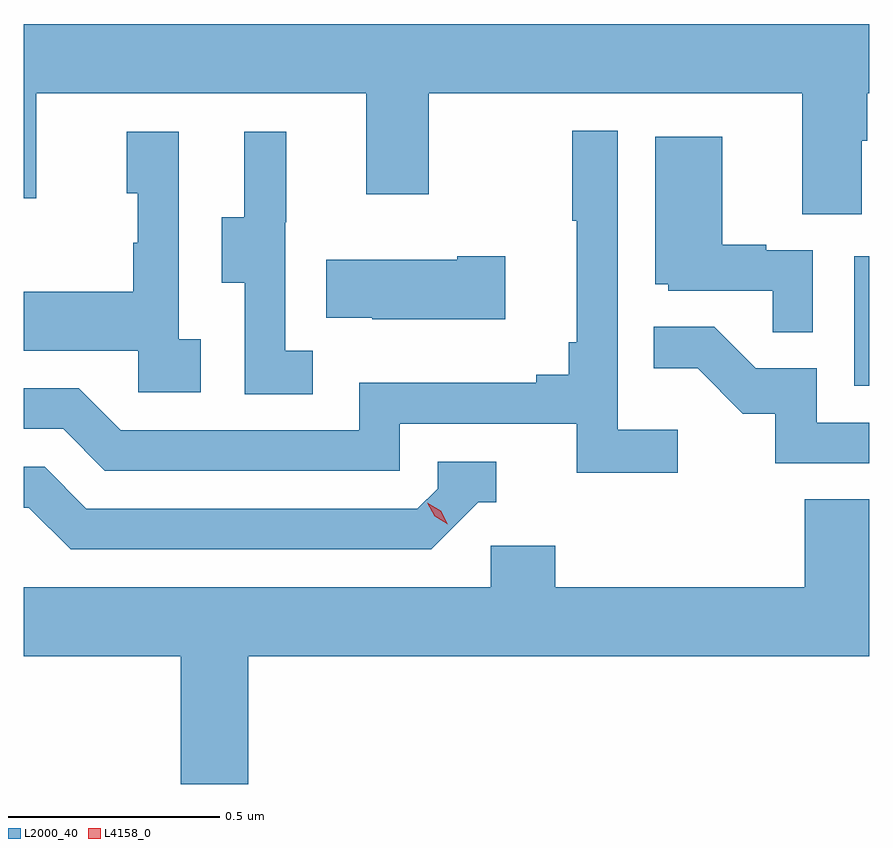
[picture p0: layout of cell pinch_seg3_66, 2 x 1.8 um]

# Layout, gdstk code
import gdstk
lib = gdstk.Library(unit=1e-6, precision=1e-09)
def R(c, l, rs):  # rectangles x0, y0, x1, y1
    for r in rs: c.add(gdstk.rectangle(r[:2], r[2:], *l))
def P(c, l, *ps):  # polygons
    for p in ps: c.add(gdstk.Polygon(p, *l))
L2000_40 = (2000, 40)
L4158_0 = (4158, 0)

pinch_seg3_66 = lib.new_cell('pinch_seg3_66')
R(pinch_seg3_66, L2000_40, [(1034.492,741.516,1034.527,741.823)])
P(pinch_seg3_66, L2000_40, [(1034.509,742.096),(1034.522,742.096),(1034.522,742.208),(1034.527,742.208),(1034.527,742.372),(1032.527,742.372),(1032.527,741.96),(1032.557,741.96),(1032.557,742.208),(1033.337,742.208),(1033.337,741.969),(1033.485,741.969),(1033.485,742.208),(1034.369,742.208),(1034.369,741.922),(1034.509,741.922)],
  [(1034.074,741.412),(1033.932,741.412),(1033.932,742.12),(1033.824,742.12),(1033.824,741.907),(1033.835,741.907),(1033.835,741.619),(1033.816,741.619),(1033.816,741.542),(1033.739,741.542),(1033.739,741.523),(1033.32,741.523),(1033.32,741.411),(1032.756,741.411),(1032.657,741.51),(1032.527,741.51),(1032.527,741.414),(1032.62,741.414),(1032.719,741.315),(1033.416,741.315),(1033.416,741.426),(1033.835,741.426),(1033.835,741.31),(1034.074,741.31)],
  [(1033.21,741.599),(1033.146,741.599),(1033.146,741.903),(1033.148,741.903),(1033.148,742.117),(1033.049,742.117),(1033.049,741.915),(1032.995,741.915),(1032.995,741.76),(1033.05,741.76),(1033.05,741.496),(1033.21,741.496)],
  [(1032.946,741.626),(1032.894,741.626),(1032.894,742.117),(1032.77,742.117),(1032.77,741.972),(1032.796,741.972),(1032.796,741.854),(1032.786,741.854),(1032.786,741.739),(1032.527,741.739),(1032.527,741.599),(1032.798,741.599),(1032.798,741.501),(1032.946,741.501)],
  [(1034.394,741.837),(1034.283,741.837),(1034.283,741.85),(1034.179,741.85),(1034.179,742.105),(1034.021,742.105),(1034.021,741.756),(1034.052,741.756),(1034.052,741.741),(1034.299,741.741),(1034.299,741.643),(1034.394,741.643)],
  [(1033.666,741.822),(1033.553,741.822),(1033.553,741.814),(1033.243,741.814),(1033.243,741.677),(1033.351,741.677),(1033.351,741.674),(1033.666,741.674)],
  [(1034.527,741.429),(1034.403,741.429),(1034.403,741.558),(1034.259,741.558),(1034.161,741.656),(1034.017,741.656),(1034.017,741.557),(1034.121,741.557),(1034.228,741.45),(1034.305,741.45),(1034.305,741.333),(1034.527,741.333)],
  [(1033.602,741.24),(1033.645,741.24),(1033.645,741.336),(1033.506,741.336),(1033.506,741.273),(1033.458,741.225),(1032.675,741.225),(1032.576,741.324),(1032.527,741.324),(1032.527,741.228),(1032.539,741.228),(1032.638,741.129),(1033.491,741.129)],
  [(1033.058,740.876),(1034.527,740.876),(1034.527,741.248),(1034.375,741.248),(1034.375,741.04),(1033.784,741.04),(1033.784,741.138),(1033.632,741.138),(1033.632,741.04),(1032.527,741.04),(1032.527,740.876),(1032.898,740.876),(1032.898,740.574),(1033.058,740.574)])
P(pinch_seg3_66, L4158_0, [(1033.53,741.188),(1033.499,741.207),(1033.482,741.239),(1033.482,741.239),(1033.482,741.239),(1033.513,741.22),(1033.53,741.188),(1033.53,741.188)])

lib.write_gds('pinch_seg3_66.gds')
